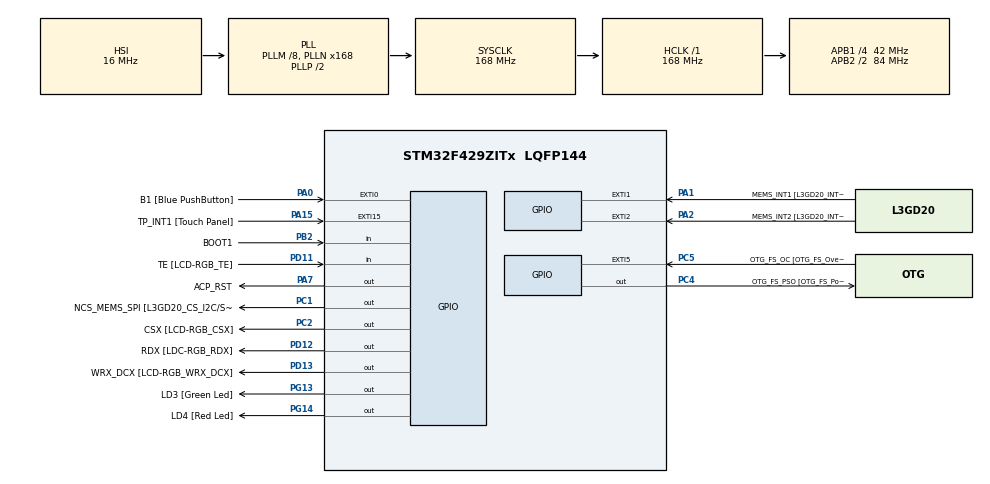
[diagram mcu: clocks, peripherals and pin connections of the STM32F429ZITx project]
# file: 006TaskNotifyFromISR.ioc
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Mcu.Family=STM32F4
Mcu.Name=STM32F429ZITx
Mcu.Package=LQFP144
NVIC.EXTI0_IRQn=true\:6\:0\:true\:false\:true\:true\:true\:true
NVIC.PriorityGroup=NVIC_PRIORITYGROUP_4
NVIC.TIM6_DAC_IRQn=true\:15\:0\:false\:false\:true\:false\:true\:true
NVIC.TimeBase=TIM6_DAC_IRQn
NVIC.TimeBaseIP=TIM6
PA0/WKUP.GPIO_Label=B1 [Blue PushButton]
PA0/WKUP.GPIO_ModeDefaultEXTI=GPIO_MODE_IT_RISING
PA0/WKUP.GPIO_PuPd=GPIO_NOPULL
PA0/WKUP.Signal=GPXTI0
PA1.GPIO_Label=MEMS_INT1 [L3GD20_INT1]
PA1.GPIO_ModeDefaultEXTI=GPIO_MODE_EVT_RISING
PA1.GPIO_PuPd=GPIO_NOPULL
PA1.Signal=GPXTI1
PA10.GPIO_Label=STLINK_TX [STM32F103CBT6_PA2]
PA10.Signal=USART1_RX
PA11.GPIO_Label=R4
PA11.GPIO_Mode=GPIO_MODE_AF_PP
PA11.GPIO_PuPd=GPIO_NOPULL
PA11.GPIO_Speed=GPIO_SPEED_FREQ_LOW
PA11.Signal=LTDC_R4
PA12.GPIO_Label=R5
PA12.GPIO_Mode=GPIO_MODE_AF_PP
PA12.GPIO_PuPd=GPIO_NOPULL
PA12.GPIO_Speed=GPIO_SPEED_FREQ_LOW
PA12.Signal=LTDC_R5
PA13.GPIO_Label=SWDIO
PA13.Signal=SYS_JTMS-SWDIO
PA14.GPIO_Label=SWCLK
PA14.Signal=SYS_JTCK-SWCLK
PA15.GPIO_Label=TP_INT1 [Touch Panel]
PA15.GPIO_ModeDefaultEXTI=GPIO_MODE_EVT_RISING
PA15.GPIO_PuPd=GPIO_NOPULL
PA15.Signal=GPXTI15
PA2.GPIO_Label=MEMS_INT2 [L3GD20_INT2]
PA2.GPIO_ModeDefaultEXTI=GPIO_MODE_EVT_RISING
PA2.GPIO_PuPd=GPIO_NOPULL
PA2.Signal=GPXTI2
PA3.GPIO_Label=B5
PA3.GPIO_Mode=GPIO_MODE_AF_PP
PA3.GPIO_PuPd=GPIO_NOPULL
PA3.GPIO_Speed=GPIO_SPEED_FREQ_LOW
PA3.Signal=LTDC_B5
PA4.GPIO_Label=VSYNC
PA4.GPIO_Mode=GPIO_MODE_AF_PP
PA4.GPIO_PuPd=GPIO_NOPULL
PA4.GPIO_Speed=GPIO_SPEED_FREQ_LOW
PA4.Signal=LTDC_VSYNC
PA6.GPIO_Label=G2
PA6.GPIO_Mode=GPIO_MODE_AF_PP
PA6.GPIO_PuPd=GPIO_NOPULL
PA6.GPIO_Speed=GPIO_SPEED_FREQ_LOW
PA6.Signal=LTDC_G2
PA7.GPIO_Label=ACP_RST
PA7.GPIO_Mode=GPIO_MODE_OUTPUT_PP
PA7.GPIO_PuPd=GPIO_NOPULL
PA7.GPIO_Speed=GPIO_SPEED_FREQ_LOW
PA7.Signal=GPIO_Output
PA8.GPIO_Label=I2C3_SCL [ACP/RF_SCL]
PA8.GPIO_Mode=GPIO_MODE_AF_OD
PA8.GPIO_PuPd=GPIO_NOPULL
PA8.GPIO_Speed=GPIO_SPEED_FREQ_LOW
PA8.Signal=I2C3_SCL
PA9.GPIO_Label=STLINK_RX [STM32F103CBT6_PA3]
PA9.Signal=USART1_TX
PB0.GPIO_Label=R3
PB0.GPIO_Mode=GPIO_MODE_AF_PP
PB0.GPIO_PuPd=GPIO_NOPULL
PB0.GPIO_Speed=GPIO_SPEED_FREQ_LOW
PB0.Signal=LTDC_R3
PB1.GPIO_Label=R6
PB1.GPIO_Mode=GPIO_MODE_AF_PP
PB1.GPIO_PuPd=GPIO_NOPULL
PB1.GPIO_Speed=GPIO_SPEED_FREQ_LOW
PB1.Signal=LTDC_R6
PB10.GPIO_Label=G4
PB10.GPIO_Mode=GPIO_MODE_AF_PP
PB10.GPIO_PuPd=GPIO_NOPULL
PB10.GPIO_Speed=GPIO_SPEED_FREQ_LOW
PB10.Signal=LTDC_G4
PB11.GPIO_Label=G5
PB11.GPIO_Mode=GPIO_MODE_AF_PP
PB11.GPIO_PuPd=GPIO_NOPULL
PB11.GPIO_Speed=GPIO_SPEED_FREQ_LOW
PB11.Signal=LTDC_G5
PB12.GPIO_Label=OTG_HS_ID
PB12.GPIO_Mode=GPIO_MODE_AF_PP
PB12.GPIO_PuPd=GPIO_NOPULL
PB12.GPIO_Speed=GPIO_SPEED_FREQ_LOW
PB12.Signal=USB_OTG_HS_ID
PB13.GPIO_Label=VBUS_HS
PB13.GPIO_Mode=GPIO_MODE_INPUT
PB13.GPIO_PuPd=GPIO_NOPULL
PB13.Signal=USB_OTG_HS_VBUS
PB14.GPIO_Label=OTG_HS_DM
PB14.GPIO_Mode=GPIO_MODE_AF_PP
PB14.GPIO_PuPd=GPIO_NOPULL
PB14.GPIO_Speed=GPIO_SPEED_FREQ_LOW
PB14.Signal=USB_OTG_HS_DM
PB15.GPIO_Label=OTG_HS_DP
PB15.GPIO_Mode=GPIO_MODE_AF_PP
PB15.GPIO_PuPd=GPIO_NOPULL
PB15.GPIO_Speed=GPIO_SPEED_FREQ_LOW
PB15.Signal=USB_OTG_HS_DP
PB2/BOOT1.GPIO_Label=BOOT1
PB2/BOOT1.GPIO_Mode=GPIO_MODE_INPUT
PB2/BOOT1.GPIO_PuPd=GPIO_NOPULL
PB2/BOOT1.Signal=GPIO_Input
PB5.GPIO_Label=SDCKE1
PB5.GPIO_Mode=GPIO_MODE_AF_PP
PB5.GPIO_PuPd=GPIO_NOPULL
PB5.GPIO_Speed=GPIO_SPEED_FREQ_VERY_HIGH
PB5.Signal=FMC_SDCKE1
PB6.GPIO_Label=SDNE1 [SDRAM_CS]
PB6.GPIO_Mode=GPIO_MODE_AF_PP
PB6.GPIO_PuPd=GPIO_NOPULL
PB6.GPIO_Speed=GPIO_SPEED_FREQ_VERY_HIGH
PB6.Signal=FMC_SDNE1
PB8.GPIO_Label=B6
PB8.GPIO_Mode=GPIO_MODE_AF_PP
PB8.GPIO_PuPd=GPIO_NOPULL
PB8.GPIO_Speed=GPIO_SPEED_FREQ_LOW
PB8.Signal=LTDC_B6
PB9.GPIO_Label=B7
PB9.GPIO_Mode=GPIO_MODE_AF_PP
PB9.GPIO_PuPd=GPIO_NOPULL
PB9.GPIO_Speed=GPIO_SPEED_FREQ_LOW
PB9.Signal=LTDC_B7
PC0.GPIO_Label=SDNWE
PC0.GPIO_Mode=GPIO_MODE_AF_PP
PC0.GPIO_PuPd=GPIO_NOPULL
PC0.GPIO_Speed=GPIO_SPEED_FREQ_VERY_HIGH
PC0.Signal=FMC_SDNWE
PC1.GPIO_Label=NCS_MEMS_SPI [L3GD20_CS_I2C/SPI]
PC1.GPIO_Mode=GPIO_MODE_OUTPUT_PP
PC1.GPIO_PuPd=GPIO_NOPULL
PC1.GPIO_Speed=GPIO_SPEED_FREQ_LOW
PC1.Signal=GPIO_Output
PC10.GPIO_Label=R2
PC10.GPIO_Mode=GPIO_MODE_AF_PP
PC10.GPIO_PuPd=GPIO_NOPULL
PC10.GPIO_Speed=GPIO_SPEED_FREQ_LOW
PC10.Signal=LTDC_R2
PC14/OSC32_IN.GPIO_Label=PC14-OSC32_IN
PC14/OSC32_IN.Signal=RCC_OSC32_IN
PC15/OSC32_OUT.GPIO_Label=PC15-OSC32_OUT
PC15/OSC32_OUT.Signal=RCC_OSC32_OUT
PC2.GPIO_Label=CSX [LCD-RGB_CSX]
PC2.GPIO_Mode=GPIO_MODE_OUTPUT_PP
PC2.GPIO_PuPd=GPIO_NOPULL
PC2.GPIO_Speed=GPIO_SPEED_FREQ_LOW
PC2.Signal=GPIO_Output
PC4.GPIO_Label=OTG_FS_PSO [OTG_FS_PowerSwitchOn]
PC4.GPIO_Mode=GPIO_MODE_OUTPUT_PP
PC4.GPIO_PuPd=GPIO_NOPULL
PC4.GPIO_Speed=GPIO_SPEED_FREQ_LOW
PC4.Signal=GPIO_Output
PC5.GPIO_Label=OTG_FS_OC [OTG_FS_OverCurrent]
PC5.GPIO_ModeDefaultEXTI=GPIO_MODE_EVT_RISING
PC5.Signal=GPXTI5
PC6.GPIO_Label=HSYNC
PC6.GPIO_Mode=GPIO_MODE_AF_PP
PC6.GPIO_PuPd=GPIO_NOPULL
PC6.GPIO_Speed=GPIO_SPEED_FREQ_LOW
PC6.Signal=LTDC_HSYNC
PC7.GPIO_Label=G6
PC7.GPIO_Mode=GPIO_MODE_AF_PP
PC7.GPIO_PuPd=GPIO_NOPULL
PC7.GPIO_Speed=GPIO_SPEED_FREQ_LOW
PC7.Signal=LTDC_G6
PC9.GPIO_Label=I2C3_SDA [ACP/RF_SDA]
PC9.GPIO_Mode=GPIO_MODE_AF_OD
PC9.GPIO_PuPd=GPIO_NOPULL
PC9.GPIO_Speed=GPIO_SPEED_FREQ_LOW
PC9.Signal=I2C3_SDA
PD0.GPIO_Label=D2
PD0.GPIO_Mode=GPIO_MODE_AF_PP
PD0.GPIO_PuPd=GPIO_NOPULL
PD0.GPIO_Speed=GPIO_SPEED_FREQ_VERY_HIGH
PD0.Signal=FMC_D2_DA2
PD1.GPIO_Label=D3
PD1.GPIO_Mode=GPIO_MODE_AF_PP
PD1.GPIO_PuPd=GPIO_NOPULL
PD1.GPIO_Speed=GPIO_SPEED_FREQ_VERY_HIGH
PD1.Signal=FMC_D3_DA3
PD10.GPIO_Label=D15
PD10.GPIO_Mode=GPIO_MODE_AF_PP
PD10.GPIO_PuPd=GPIO_NOPULL
PD10.GPIO_Speed=GPIO_SPEED_FREQ_VERY_HIGH
PD10.Signal=FMC_D15_DA15
PD11.GPIO_Label=TE [LCD-RGB_TE]
PD11.GPIO_Mode=GPIO_MODE_INPUT
PD11.GPIO_PuPd=GPIO_NOPULL
PD11.Signal=GPIO_Input
PD12.GPIO_Label=RDX [LDC-RGB_RDX]
PD12.GPIO_Mode=GPIO_MODE_OUTPUT_PP
PD12.GPIO_PuPd=GPIO_NOPULL
PD12.GPIO_Speed=GPIO_SPEED_FREQ_LOW
PD12.Signal=GPIO_Output
PD13.GPIO_Label=WRX_DCX [LCD-RGB_WRX_DCX]
PD13.GPIO_Mode=GPIO_MODE_OUTPUT_PP
PD13.GPIO_PuPd=GPIO_NOPULL
PD13.GPIO_Speed=GPIO_SPEED_FREQ_LOW
PD13.Signal=GPIO_Output
PD14.GPIO_Label=D0
PD14.GPIO_Mode=GPIO_MODE_AF_PP
PD14.GPIO_PuPd=GPIO_NOPULL
PD14.GPIO_Speed=GPIO_SPEED_FREQ_VERY_HIGH
PD14.Signal=FMC_D0_DA0
PD15.GPIO_Label=D1
PD15.GPIO_Mode=GPIO_MODE_AF_PP
PD15.GPIO_PuPd=GPIO_NOPULL
PD15.GPIO_Speed=GPIO_SPEED_FREQ_VERY_HIGH
PD15.Signal=FMC_D1_DA1
PD3.GPIO_Label=G7
PD3.GPIO_Mode=GPIO_MODE_AF_PP
PD3.GPIO_PuPd=GPIO_NOPULL
PD3.GPIO_Speed=GPIO_SPEED_FREQ_LOW
PD3.Signal=LTDC_G7
PD6.GPIO_Label=B2
PD6.GPIO_Mode=GPIO_MODE_AF_PP
PD6.GPIO_PuPd=GPIO_NOPULL
PD6.GPIO_Speed=GPIO_SPEED_FREQ_LOW
PD6.Signal=LTDC_B2
PD8.GPIO_Label=D13
PD8.GPIO_Mode=GPIO_MODE_AF_PP
PD8.GPIO_PuPd=GPIO_NOPULL
PD8.GPIO_Speed=GPIO_SPEED_FREQ_VERY_HIGH
PD8.Signal=FMC_D13_DA13
PD9.GPIO_Label=D14
PD9.GPIO_Mode=GPIO_MODE_AF_PP
PD9.GPIO_PuPd=GPIO_NOPULL
PD9.GPIO_Speed=GPIO_SPEED_FREQ_VERY_HIGH
PD9.Signal=FMC_D14_DA14
PE0.GPIO_Label=NBL0 [SDRAM_LDQM]
PE0.GPIO_Mode=GPIO_MODE_AF_PP
PE0.GPIO_PuPd=GPIO_NOPULL
PE0.GPIO_Speed=GPIO_SPEED_FREQ_VERY_HIGH
PE0.Signal=FMC_NBL0
PE1.GPIO_Label=NBL1 [SDRAM_UDQM]
PE1.GPIO_Mode=GPIO_MODE_AF_PP
PE1.GPIO_PuPd=GPIO_NOPULL
PE1.GPIO_Speed=GPIO_SPEED_FREQ_VERY_HIGH
PE1.Signal=FMC_NBL1
PE10.GPIO_Label=D7
PE10.GPIO_Mode=GPIO_MODE_AF_PP
PE10.GPIO_PuPd=GPIO_NOPULL
PE10.GPIO_Speed=GPIO_SPEED_FREQ_VERY_HIGH
PE10.Signal=FMC_D7_DA7
PE11.GPIO_Label=D8
PE11.GPIO_Mode=GPIO_MODE_AF_PP
PE11.GPIO_PuPd=GPIO_NOPULL
PE11.GPIO_Speed=GPIO_SPEED_FREQ_VERY_HIGH
PE11.Signal=FMC_D8_DA8
PE12.GPIO_Label=D9
PE12.GPIO_Mode=GPIO_MODE_AF_PP
PE12.GPIO_PuPd=GPIO_NOPULL
PE12.GPIO_Speed=GPIO_SPEED_FREQ_VERY_HIGH
PE12.Signal=FMC_D9_DA9
PE13.GPIO_Label=D10
PE13.GPIO_Mode=GPIO_MODE_AF_PP
PE13.GPIO_PuPd=GPIO_NOPULL
PE13.GPIO_Speed=GPIO_SPEED_FREQ_VERY_HIGH
PE13.Signal=FMC_D10_DA10
PE14.GPIO_Label=D11
PE14.GPIO_Mode=GPIO_MODE_AF_PP
PE14.GPIO_PuPd=GPIO_NOPULL
PE14.GPIO_Speed=GPIO_SPEED_FREQ_VERY_HIGH
PE14.Signal=FMC_D11_DA11
PE15.GPIO_Label=D12
PE15.GPIO_Mode=GPIO_MODE_AF_PP
PE15.GPIO_PuPd=GPIO_NOPULL
PE15.GPIO_Speed=GPIO_SPEED_FREQ_VERY_HIGH
PE15.Signal=FMC_D12_DA12
PE7.GPIO_Label=D4
PE7.GPIO_Mode=GPIO_MODE_AF_PP
PE7.GPIO_PuPd=GPIO_NOPULL
PE7.GPIO_Speed=GPIO_SPEED_FREQ_VERY_HIGH
PE7.Signal=FMC_D4_DA4
PE8.GPIO_Label=D5
PE8.GPIO_Mode=GPIO_MODE_AF_PP
PE8.GPIO_PuPd=GPIO_NOPULL
PE8.GPIO_Speed=GPIO_SPEED_FREQ_VERY_HIGH
PE8.Signal=FMC_D5_DA5
PE9.GPIO_Label=D6
PE9.GPIO_Mode=GPIO_MODE_AF_PP
PE9.GPIO_PuPd=GPIO_NOPULL
PE9.GPIO_Speed=GPIO_SPEED_FREQ_VERY_HIGH
PE9.Signal=FMC_D6_DA6
PF0.GPIO_Label=A0
PF0.GPIO_Mode=GPIO_MODE_AF_PP
PF0.GPIO_PuPd=GPIO_NOPULL
PF0.GPIO_Speed=GPIO_SPEED_FREQ_VERY_HIGH
PF0.Signal=FMC_A0
PF1.GPIO_Label=A1
PF1.GPIO_Mode=GPIO_MODE_AF_PP
PF1.GPIO_PuPd=GPIO_NOPULL
PF1.GPIO_Speed=GPIO_SPEED_FREQ_VERY_HIGH
PF1.Signal=FMC_A1
PF10.GPIO_Label=ENABLE [LCD-RGB_ENABLE]
PF10.GPIO_Mode=GPIO_MODE_AF_PP
PF10.GPIO_PuPd=GPIO_NOPULL
PF10.GPIO_Speed=GPIO_SPEED_FREQ_LOW
PF10.Signal=LTDC_DE
PF11.GPIO_Label=SDNRAS
PF11.GPIO_Mode=GPIO_MODE_AF_PP
PF11.GPIO_PuPd=GPIO_NOPULL
PF11.GPIO_Speed=GPIO_SPEED_FREQ_VERY_HIGH
PF11.Signal=FMC_SDNRAS
PF12.GPIO_Label=A6
PF12.GPIO_Mode=GPIO_MODE_AF_PP
PF12.GPIO_PuPd=GPIO_NOPULL
PF12.GPIO_Speed=GPIO_SPEED_FREQ_VERY_HIGH
PF12.Signal=FMC_A6
PF13.GPIO_Label=A7
PF13.GPIO_Mode=GPIO_MODE_AF_PP
PF13.GPIO_PuPd=GPIO_NOPULL
PF13.GPIO_Speed=GPIO_SPEED_FREQ_VERY_HIGH
PF13.Signal=FMC_A7
PF14.GPIO_Label=A8
PF14.GPIO_Mode=GPIO_MODE_AF_PP
PF14.GPIO_PuPd=GPIO_NOPULL
PF14.GPIO_Speed=GPIO_SPEED_FREQ_VERY_HIGH
PF14.Signal=FMC_A8
PF15.GPIO_Label=A9
PF15.GPIO_Mode=GPIO_MODE_AF_PP
PF15.GPIO_PuPd=GPIO_NOPULL
PF15.GPIO_Speed=GPIO_SPEED_FREQ_VERY_HIGH
PF15.Signal=FMC_A9
PF2.GPIO_Label=A2
PF2.GPIO_Mode=GPIO_MODE_AF_PP
PF2.GPIO_PuPd=GPIO_NOPULL
PF2.GPIO_Speed=GPIO_SPEED_FREQ_VERY_HIGH
PF2.Signal=FMC_A2
PF3.GPIO_Label=A3
PF3.GPIO_Mode=GPIO_MODE_AF_PP
PF3.GPIO_PuPd=GPIO_NOPULL
PF3.GPIO_Speed=GPIO_SPEED_FREQ_VERY_HIGH
PF3.Signal=FMC_A3
PF4.GPIO_Label=A4
PF4.GPIO_Mode=GPIO_MODE_AF_PP
PF4.GPIO_PuPd=GPIO_NOPULL
PF4.GPIO_Speed=GPIO_SPEED_FREQ_VERY_HIGH
PF4.Signal=FMC_A4
PF5.GPIO_Label=A5
PF5.GPIO_Mode=GPIO_MODE_AF_PP
PF5.GPIO_PuPd=GPIO_NOPULL
PF5.GPIO_Speed=GPIO_SPEED_FREQ_VERY_HIGH
PF5.Signal=FMC_A5
PF7.GPIO_Label=SPI5_SCK [L3GD20_SCL/SPC]
PF7.GPIO_Mode=GPIO_MODE_AF_PP
PF7.GPIO_PuPd=GPIO_NOPULL
PF7.GPIO_Speed=GPIO_SPEED_FREQ_LOW
PF7.Signal=SPI5_SCK
PF8.GPIO_Label=SPI5_MISO [L3GD20_SDO]
PF8.GPIO_Mode=GPIO_MODE_AF_PP
PF8.GPIO_PuPd=GPIO_NOPULL
PF8.GPIO_Speed=GPIO_SPEED_FREQ_LOW
PF8.Signal=SPI5_MISO
PF9.GPIO_Label=SPI5_MOSI [L3GD20_SDA/SDI/SDO]
PF9.GPIO_Mode=GPIO_MODE_AF_PP
PF9.GPIO_PuPd=GPIO_NOPULL
PF9.GPIO_Speed=GPIO_SPEED_FREQ_LOW
PF9.Signal=SPI5_MOSI
PG0.GPIO_Label=A10
PG0.GPIO_Mode=GPIO_MODE_AF_PP
PG0.GPIO_PuPd=GPIO_NOPULL
PG0.GPIO_Speed=GPIO_SPEED_FREQ_VERY_HIGH
PG0.Signal=FMC_A10
PG1.GPIO_Label=A11
PG1.GPIO_Mode=GPIO_MODE_AF_PP
PG1.GPIO_PuPd=GPIO_NOPULL
PG1.GPIO_Speed=GPIO_SPEED_FREQ_VERY_HIGH
PG1.Signal=FMC_A11
PG10.GPIO_Label=G3
PG10.GPIO_Mode=GPIO_MODE_AF_PP
PG10.GPIO_PuPd=GPIO_NOPULL
PG10.GPIO_Speed=GPIO_SPEED_FREQ_LOW
PG10.Signal=LTDC_G3
PG11.GPIO_Label=B3
PG11.GPIO_Mode=GPIO_MODE_AF_PP
PG11.GPIO_PuPd=GPIO_NOPULL
PG11.GPIO_Speed=GPIO_SPEED_FREQ_LOW
PG11.Signal=LTDC_B3
PG12.GPIO_Label=B4
PG12.GPIO_Mode=GPIO_MODE_AF_PP
PG12.GPIO_PuPd=GPIO_NOPULL
PG12.GPIO_Speed=GPIO_SPEED_FREQ_LOW
PG12.Signal=LTDC_B4
PG13.GPIO_Label=LD3 [Green Led]
PG13.GPIO_Mode=GPIO_MODE_OUTPUT_PP
PG13.GPIO_PuPd=GPIO_NOPULL
PG13.GPIO_Speed=GPIO_SPEED_FREQ_LOW
PG13.Signal=GPIO_Output
PG14.GPIO_Label=LD4 [Red Led]
PG14.GPIO_Mode=GPIO_MODE_OUTPUT_PP
PG14.GPIO_PuPd=GPIO_NOPULL
PG14.GPIO_Speed=GPIO_SPEED_FREQ_LOW
PG14.Signal=GPIO_Output
PG15.GPIO_Label=SDNCAS
PG15.GPIO_Mode=GPIO_MODE_AF_PP
PG15.GPIO_PuPd=GPIO_NOPULL
PG15.GPIO_Speed=GPIO_SPEED_FREQ_VERY_HIGH
PG15.Signal=FMC_SDNCAS
PG4.GPIO_Label=BA0
PG4.GPIO_Mode=GPIO_MODE_AF_PP
PG4.GPIO_PuPd=GPIO_NOPULL
PG4.GPIO_Speed=GPIO_SPEED_FREQ_VERY_HIGH
PG4.Signal=FMC_A14_BA0
PG5.GPIO_Label=BA1
PG5.GPIO_Mode=GPIO_MODE_AF_PP
PG5.GPIO_PuPd=GPIO_NOPULL
PG5.GPIO_Speed=GPIO_SPEED_FREQ_VERY_HIGH
PG5.Signal=FMC_A15_BA1
PG6.GPIO_Label=R7
PG6.GPIO_Mode=GPIO_MODE_AF_PP
PG6.GPIO_PuPd=GPIO_NOPULL
PG6.GPIO_Speed=GPIO_SPEED_FREQ_LOW
PG6.Signal=LTDC_R7
PG7.GPIO_Label=DOTCLK [LCT-RGB_DOTCLK]
PG7.GPIO_Mode=GPIO_MODE_AF_PP
PG7.GPIO_PuPd=GPIO_NOPULL
PG7.GPIO_Speed=GPIO_SPEED_FREQ_LOW
PG7.Signal=LTDC_CLK
PG8.GPIO_Label=SDCLK
PG8.GPIO_Mode=GPIO_MODE_AF_PP
PG8.GPIO_PuPd=GPIO_NOPULL
PG8.GPIO_Speed=GPIO_SPEED_FREQ_VERY_HIGH
PG8.Signal=FMC_SDCLK
PH0/OSC_IN.GPIO_Label=PH0-OSC_IN
PH0/OSC_IN.Signal=RCC_OSC_IN
PH1/OSC_OUT.GPIO_Label=PH1-OSC_OUT
PH1/OSC_OUT.Signal=RCC_OSC_OUT
ProjectManager.HeapSize=0x200
ProjectManager.StackSize=0x400
ProjectManager.TargetToolchain=STM32CubeIDE
RCC.48MHZClocksFreq_Value=48000000
RCC.AHBFreq_Value=168000000
RCC.APB1CLKDivider=RCC_HCLK_DIV4
RCC.APB1Freq_Value=42000000
RCC.APB1TimFreq_Value=84000000
RCC.APB2CLKDivider=RCC_HCLK_DIV2
RCC.APB2Freq_Value=84000000
RCC.APB2TimFreq_Value=168000000
RCC.CortexFreq_Value=168000000
RCC.HCLKFreq_Value=168000000
RCC.HSE_VALUE=8000000
RCC.HSI_VALUE=16000000
RCC.LSE_VALUE=32768
RCC.PLLM=8
RCC.PLLN=168
RCC.PLLQ=7
RCC.SYSCLKFreq_VALUE=168000000
RCC.SYSCLKSource=RCC_SYSCLKSOURCE_PLLCLK
RCC.VCOOutputFreq_Value=336000000
SH.FMC_A0.0=FMC_A0
SH.FMC_A1.0=FMC_A1
SH.FMC_A10.0=FMC_A10
SH.FMC_A11.0=FMC_A11
SH.FMC_A14_BA0.0=FMC_BA0
SH.FMC_A15_BA1.0=FMC_BA1
SH.FMC_A2.0=FMC_A2
SH.FMC_A3.0=FMC_A3
SH.FMC_A4.0=FMC_A4
SH.FMC_A5.0=FMC_A5
SH.FMC_A6.0=FMC_A6
SH.FMC_A7.0=FMC_A7
SH.FMC_A8.0=FMC_A8
SH.FMC_A9.0=FMC_A9
SH.FMC_D0_DA0.0=FMC_D0
SH.FMC_D10_DA10.0=FMC_D10
SH.FMC_D11_DA11.0=FMC_D11
SH.FMC_D12_DA12.0=FMC_D12
SH.FMC_D13_DA13.0=FMC_D13
SH.FMC_D14_DA14.0=FMC_D14
SH.FMC_D15_DA15.0=FMC_D15
SH.FMC_D1_DA1.0=FMC_D1
SH.FMC_D2_DA2.0=FMC_D2
SH.FMC_D3_DA3.0=FMC_D3
SH.FMC_D4_DA4.0=FMC_D4
SH.FMC_D5_DA5.0=FMC_D5
SH.FMC_D6_DA6.0=FMC_D6
SH.FMC_D7_DA7.0=FMC_D7
SH.FMC_D8_DA8.0=FMC_D8
SH.FMC_D9_DA9.0=FMC_D9
SH.FMC_NBL0.0=FMC_NBL0
SH.FMC_NBL1.0=FMC_NBL1
SH.FMC_SDCLK.0=FMC_SDCLK
SH.FMC_SDNCAS.0=FMC_SDNCAS
SH.FMC_SDNRAS.0=FMC_SDNRAS
SH.FMC_SDNWE.0=FMC_SDNWE
VP_SYS_VS_tim6.Mode=TIM6
board=STM32F429I-DISC1

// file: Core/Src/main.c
/* USER CODE BEGIN Header */
/**
  ******************************************************************************
  * @file           : main.c
  * @brief          : Main program body
  ******************************************************************************
  * @attention
  *
  * Copyright (c) 2024 STMicroelectronics.
  * All rights reserved.
  *
  * This software is licensed under terms that can be found in the LICENSE file
  * in the root directory of this software component.
  * If no LICENSE file comes with this software, it is provided AS-IS.
  *
  ******************************************************************************
  */
/* USER CODE END Header */
#include "main.h"

/* USER CODE BEGIN Includes */
#include <stdio.h>
#include "FreeRTOS.h"
#include "task.h"
#include "string.h"
#include "limits.h"
#include "SEGGER_SYSVIEW_FreeRTOS.h"

/* USER CODE END Includes */

/* USER CODE BEGIN PV */

#define DWT_CTRL (volatile uint32_t*)0xE0001000

/* USER CODE END PV */

void SystemClock_Config(void);
static void MX_GPIO_Init(void);
/* USER CODE BEGIN PFP */

static void red_led_handler(void *pvParam);
static void green_led_handler(void *pvParam);
void button_irq_handler(void);

extern void SEGGER_UART_init(U32 baud);

/* USER CODE END PFP */

/* USER CODE BEGIN 0 */
static TaskHandle_t xRedLedTaskHandle = NULL;
static TaskHandle_t xGreenLedTaskHandle = NULL;
static volatile TaskHandle_t xNextTaskHandle = NULL;
/* USER CODE END 0 */

int main(void)
{
  /* USER CODE BEGIN 1 */

	BaseType_t xReturned = 0;
//	TaskHandle_t xNotifyTaskHandle = NULL, xNotifyWaitTaskHandle = NULL;

  /* USER CODE END 1 */

  /* MCU Configuration--------------------------------------------------------*/

  /* Reset of all peripherals, Initializes the Flash interface and the Systick. */
  HAL_Init();

  /* Configure the system clock */
  SystemClock_Config();

  /* Initialize all configured peripherals */
  MX_GPIO_Init();
  /* USER CODE BEGIN 2 */

  // enable the CYCCNT counter
  *DWT_CTRL |= (1 << 0);

  // enable usart
  SEGGER_UART_init(500000);

  // start segger recording
  SEGGER_SYSVIEW_Conf();

  xReturned = xTaskCreate(red_led_handler, "red_led_handler", 200, NULL, 2, &xRedLedTaskHandle);
  configASSERT(pdPASS == xReturned);
  xNextTaskHandle = xRedLedTaskHandle;

  xReturned = xTaskCreate(green_led_handler, "green_led_handler", 200, NULL, 3, &xGreenLedTaskHandle);
  configASSERT(pdPASS == xReturned);

  // start the scheduler
  vTaskStartScheduler();

  /* USER CODE END 2 */

  /* Infinite loop */
  while (1)
  {

  }
}

void SystemClock_Config(void)
{
  RCC_OscInitTypeDef RCC_OscInitStruct = {0};
  RCC_ClkInitTypeDef RCC_ClkInitStruct = {0};

  /** Configure the main internal regulator output voltage
  */
  __HAL_RCC_PWR_CLK_ENABLE();
  __HAL_PWR_VOLTAGESCALING_CONFIG(PWR_REGULATOR_VOLTAGE_SCALE1);

  /** Initializes the RCC Oscillators according to the specified parameters
  * in the RCC_OscInitTypeDef structure.
  */
  RCC_OscInitStruct.OscillatorType = RCC_OSCILLATORTYPE_HSI;
  RCC_OscInitStruct.HSIState = RCC_HSI_ON;
  RCC_OscInitStruct.HSICalibrationValue = RCC_HSICALIBRATION_DEFAULT;
  RCC_OscInitStruct.PLL.PLLState = RCC_PLL_ON;
  RCC_OscInitStruct.PLL.PLLSource = RCC_PLLSOURCE_HSI;
  RCC_OscInitStruct.PLL.PLLM = 8;
  RCC_OscInitStruct.PLL.PLLN = 168;
  RCC_OscInitStruct.PLL.PLLP = RCC_PLLP_DIV2;
  RCC_OscInitStruct.PLL.PLLQ = 7;
  if (HAL_RCC_OscConfig(&RCC_OscInitStruct) != HAL_OK)
  {
    Error_Handler();
  }

  /** Initializes the CPU, AHB and APB buses clocks
  */
  RCC_ClkInitStruct.ClockType = RCC_CLOCKTYPE_HCLK|RCC_CLOCKTYPE_SYSCLK
                              |RCC_CLOCKTYPE_PCLK1|RCC_CLOCKTYPE_PCLK2;
  RCC_ClkInitStruct.SYSCLKSource = RCC_SYSCLKSOURCE_PLLCLK;
  RCC_ClkInitStruct.AHBCLKDivider = RCC_SYSCLK_DIV1;
  RCC_ClkInitStruct.APB1CLKDivider = RCC_HCLK_DIV4;
  RCC_ClkInitStruct.APB2CLKDivider = RCC_HCLK_DIV2;

  if (HAL_RCC_ClockConfig(&RCC_ClkInitStruct, FLASH_LATENCY_5) != HAL_OK)
  {
    Error_Handler();
  }
}

static void MX_GPIO_Init(void)
{
  GPIO_InitTypeDef GPIO_InitStruct = {0};

  /* GPIO Ports Clock Enable */
  __HAL_RCC_GPIOC_CLK_ENABLE();
  __HAL_RCC_GPIOF_CLK_ENABLE();
  __HAL_RCC_GPIOH_CLK_ENABLE();
  __HAL_RCC_GPIOA_CLK_ENABLE();
  __HAL_RCC_GPIOB_CLK_ENABLE();
  __HAL_RCC_GPIOG_CLK_ENABLE();
  __HAL_RCC_GPIOE_CLK_ENABLE();
  __HAL_RCC_GPIOD_CLK_ENABLE();

  /*Configure GPIO pin Output Level */
  HAL_GPIO_WritePin(GPIOC, NCS_MEMS_SPI_Pin|CSX_Pin|OTG_FS_PSO_Pin, GPIO_PIN_RESET);

  /*Configure GPIO pin Output Level */
  HAL_GPIO_WritePin(ACP_RST_GPIO_Port, ACP_RST_Pin, GPIO_PIN_RESET);

  /*Configure GPIO pin Output Level */
  HAL_GPIO_WritePin(GPIOD, RDX_Pin|WRX_DCX_Pin, GPIO_PIN_RESET);

  /*Configure GPIO pin Output Level */
  HAL_GPIO_WritePin(GPIOG, LD3_Pin|LD4_Pin, GPIO_PIN_RESET);

  /*Configure GPIO pins : A0_Pin A1_Pin A2_Pin A3_Pin
                           A4_Pin A5_Pin SDNRAS_Pin A6_Pin
                           A7_Pin A8_Pin A9_Pin */
  GPIO_InitStruct.Pin = A0_Pin|A1_Pin|A2_Pin|A3_Pin
                          |A4_Pin|A5_Pin|SDNRAS_Pin|A6_Pin
                          |A7_Pin|A8_Pin|A9_Pin;
  GPIO_InitStruct.Mode = GPIO_MODE_AF_PP;
  GPIO_InitStruct.Pull = GPIO_NOPULL;
  GPIO_InitStruct.Speed = GPIO_SPEED_FREQ_VERY_HIGH;
  GPIO_InitStruct.Alternate = GPIO_AF12_FMC;
  HAL_GPIO_Init(GPIOF, &GPIO_InitStruct);

  /*Configure GPIO pins : SPI5_SCK_Pin SPI5_MISO_Pin SPI5_MOSI_Pin */
  GPIO_InitStruct.Pin = SPI5_SCK_Pin|SPI5_MISO_Pin|SPI5_MOSI_Pin;
  GPIO_InitStruct.Mode = GPIO_MODE_AF_PP;
  GPIO_InitStruct.Pull = GPIO_NOPULL;
  GPIO_InitStruct.Speed = GPIO_SPEED_FREQ_LOW;
  GPIO_InitStruct.Alternate = GPIO_AF5_SPI5;
  HAL_GPIO_Init(GPIOF, &GPIO_InitStruct);

  /*Configure GPIO pin : ENABLE_Pin */
  GPIO_InitStruct.Pin = ENABLE_Pin;
  GPIO_InitStruct.Mode = GPIO_MODE_AF_PP;
  GPIO_InitStruct.Pull = GPIO_NOPULL;
  GPIO_InitStruct.Speed = GPIO_SPEED_FREQ_LOW;
  GPIO_InitStruct.Alternate = GPIO_AF14_LTDC;
  HAL_GPIO_Init(ENABLE_GPIO_Port, &GPIO_InitStruct);

  /*Configure GPIO pin : SDNWE_Pin */
  GPIO_InitStruct.Pin = SDNWE_Pin;
  GPIO_InitStruct.Mode = GPIO_MODE_AF_PP;
  GPIO_InitStruct.Pull = GPIO_NOPULL;
  GPIO_InitStruct.Speed = GPIO_SPEED_FREQ_VERY_HIGH;
  GPIO_InitStruct.Alternate = GPIO_AF12_FMC;
  HAL_GPIO_Init(SDNWE_GPIO_Port, &GPIO_InitStruct);

  /*Configure GPIO pins : NCS_MEMS_SPI_Pin CSX_Pin OTG_FS_PSO_Pin */
  GPIO_InitStruct.Pin = NCS_MEMS_SPI_Pin|CSX_Pin|OTG_FS_PSO_Pin;
  GPIO_InitStruct.Mode = GPIO_MODE_OUTPUT_PP;
  GPIO_InitStruct.Pull = GPIO_NOPULL;
  GPIO_InitStruct.Speed = GPIO_SPEED_FREQ_LOW;
  HAL_GPIO_Init(GPIOC, &GPIO_InitStruct);

  /*Configure GPIO pin : B1_Pin */
  GPIO_InitStruct.Pin = B1_Pin;
  GPIO_InitStruct.Mode = GPIO_MODE_IT_RISING;
  GPIO_InitStruct.Pull = GPIO_NOPULL;
  HAL_GPIO_Init(B1_GPIO_Port, &GPIO_InitStruct);

  /*Configure GPIO pins : MEMS_INT1_Pin MEMS_INT2_Pin TP_INT1_Pin */
  GPIO_InitStruct.Pin = MEMS_INT1_Pin|MEMS_INT2_Pin|TP_INT1_Pin;
  GPIO_InitStruct.Mode = GPIO_MODE_EVT_RISING;
  GPIO_InitStruct.Pull = GPIO_NOPULL;
  HAL_GPIO_Init(GPIOA, &GPIO_InitStruct);

  /*Configure GPIO pins : B5_Pin VSYNC_Pin G2_Pin R4_Pin
                           R5_Pin */
  GPIO_InitStruct.Pin = B5_Pin|VSYNC_Pin|G2_Pin|R4_Pin
                          |R5_Pin;
  GPIO_InitStruct.Mode = GPIO_MODE_AF_PP;
  GPIO_InitStruct.Pull = GPIO_NOPULL;
  GPIO_InitStruct.Speed = GPIO_SPEED_FREQ_LOW;
  GPIO_InitStruct.Alternate = GPIO_AF14_LTDC;
  HAL_GPIO_Init(GPIOA, &GPIO_InitStruct);

  /*Configure GPIO pin : ACP_RST_Pin */
  GPIO_InitStruct.Pin = ACP_RST_Pin;
  GPIO_InitStruct.Mode = GPIO_MODE_OUTPUT_PP;
  GPIO_InitStruct.Pull = GPIO_NOPULL;
  GPIO_InitStruct.Speed = GPIO_SPEED_FREQ_LOW;
  HAL_GPIO_Init(ACP_RST_GPIO_Port, &GPIO_InitStruct);

  /*Configure GPIO pin : OTG_FS_OC_Pin */
  GPIO_InitStruct.Pin = OTG_FS_OC_Pin;
  GPIO_InitStruct.Mode = GPIO_MODE_EVT_RISING;
  GPIO_InitStruct.Pull = GPIO_NOPULL;
  HAL_GPIO_Init(OTG_FS_OC_GPIO_Port, &GPIO_InitStruct);

  /*Configure GPIO pins : R3_Pin R6_Pin */
  GPIO_InitStruct.Pin = R3_Pin|R6_Pin;
  GPIO_InitStruct.Mode = GPIO_MODE_AF_PP;
  GPIO_InitStruct.Pull = GPIO_NOPULL;
  GPIO_InitStruct.Speed = GPIO_SPEED_FREQ_LOW;
  GPIO_InitStruct.Alternate = GPIO_AF9_LTDC;
  HAL_GPIO_Init(GPIOB, &GPIO_InitStruct);

  /*Configure GPIO pin : BOOT1_Pin */
  GPIO_InitStruct.Pin = BOOT1_Pin;
  GPIO_InitStruct.Mode = GPIO_MODE_INPUT;
  GPIO_InitStruct.Pull = GPIO_NOPULL;
  HAL_GPIO_Init(BOOT1_GPIO_Port, &GPIO_InitStruct);

  /*Configure GPIO pins : A10_Pin A11_Pin BA0_Pin BA1_Pin
                           SDCLK_Pin SDNCAS_Pin */
  GPIO_InitStruct.Pin = A10_Pin|A11_Pin|BA0_Pin|BA1_Pin
                          |SDCLK_Pin|SDNCAS_Pin;
  GPIO_InitStruct.Mode = GPIO_MODE_AF_PP;
  GPIO_InitStruct.Pull = GPIO_NOPULL;
  GPIO_InitStruct.Speed = GPIO_SPEED_FREQ_VERY_HIGH;
  GPIO_InitStruct.Alternate = GPIO_AF12_FMC;
  HAL_GPIO_Init(GPIOG, &GPIO_InitStruct);

  /*Configure GPIO pins : D4_Pin D5_Pin D6_Pin D7_Pin
                           D8_Pin D9_Pin D10_Pin D11_Pin
                           D12_Pin NBL0_Pin NBL1_Pin */
  GPIO_InitStruct.Pin = D4_Pin|D5_Pin|D6_Pin|D7_Pin
                          |D8_Pin|D9_Pin|D10_Pin|D11_Pin
                          |D12_Pin|NBL0_Pin|NBL1_Pin;
  GPIO_InitStruct.Mode = GPIO_MODE_AF_PP;
  GPIO_InitStruct.Pull = GPIO_NOPULL;
  GPIO_InitStruct.Speed = GPIO_SPEED_FREQ_VERY_HIGH;
  GPIO_InitStruct.Alternate = GPIO_AF12_FMC;
  HAL_GPIO_Init(GPIOE, &GPIO_InitStruct);

  /*Configure GPIO pins : G4_Pin G5_Pin B6_Pin B7_Pin */
  GPIO_InitStruct.Pin = G4_Pin|G5_Pin|B6_Pin|B7_Pin;
  GPIO_InitStruct.Mode = GPIO_MODE_AF_PP;
  GPIO_InitStruct.Pull = GPIO_NOPULL;
  GPIO_InitStruct.Speed = GPIO_SPEED_FREQ_LOW;
  GPIO_InitStruct.Alternate = GPIO_AF14_LTDC;
  HAL_GPIO_Init(GPIOB, &GPIO_InitStruct);

  /*Configure GPIO pins : OTG_HS_ID_Pin OTG_HS_DM_Pin OTG_HS_DP_Pin */
  GPIO_InitStruct.Pin = OTG_HS_ID_Pin|OTG_HS_DM_Pin|OTG_HS_DP_Pin;
  GPIO_InitStruct.Mode = GPIO_MODE_AF_PP;
  GPIO_InitStruct.Pull = GPIO_NOPULL;
  GPIO_InitStruct.Speed = GPIO_SPEED_FREQ_LOW;
  GPIO_InitStruct.Alternate = GPIO_AF12_OTG_HS_FS;
  HAL_GPIO_Init(GPIOB, &GPIO_InitStruct);

  /*Configure GPIO pin : VBUS_HS_Pin */
  GPIO_InitStruct.Pin = VBUS_HS_Pin;
  GPIO_InitStruct.Mode = GPIO_MODE_INPUT;
  GPIO_InitStruct.Pull = GPIO_NOPULL;
  HAL_GPIO_Init(VBUS_HS_GPIO_Port, &GPIO_InitStruct);

  /*Configure GPIO pins : D13_Pin D14_Pin D15_Pin D0_Pin
                           D1_Pin D2_Pin D3_Pin */
  GPIO_InitStruct.Pin = D13_Pin|D14_Pin|D15_Pin|D0_Pin
                          |D1_Pin|D2_Pin|D3_Pin;
  GPIO_InitStruct.Mode = GPIO_MODE_AF_PP;
  GPIO_InitStruct.Pull = GPIO_NOPULL;
  GPIO_InitStruct.Speed = GPIO_SPEED_FREQ_VERY_HIGH;
  GPIO_InitStruct.Alternate = GPIO_AF12_FMC;
  HAL_GPIO_Init(GPIOD, &GPIO_InitStruct);

  /*Configure GPIO pin : TE_Pin */
  GPIO_InitStruct.Pin = TE_Pin;
  GPIO_InitStruct.Mode = GPIO_MODE_INPUT;
  GPIO_InitStruct.Pull = GPIO_NOPULL;
  HAL_GPIO_Init(TE_GPIO_Port, &GPIO_InitStruct);

  /*Configure GPIO pins : RDX_Pin WRX_DCX_Pin */
  GPIO_InitStruct.Pin = RDX_Pin|WRX_DCX_Pin;
  GPIO_InitStruct.Mode = GPIO_MODE_OUTPUT_PP;
  GPIO_InitStruct.Pull = GPIO_NOPULL;
  GPIO_InitStruct.Speed = GPIO_SPEED_FREQ_LOW;
  HAL_GPIO_Init(GPIOD, &GPIO_InitStruct);

  /*Configure GPIO pins : R7_Pin DOTCLK_Pin B3_Pin */
  GPIO_InitStruct.Pin = R7_Pin|DOTCLK_Pin|B3_Pin;
  GPIO_InitStruct.Mode = GPIO_MODE_AF_PP;
  GPIO_InitStruct.Pull = GPIO_NOPULL;
  GPIO_InitStruct.Speed = GPIO_SPEED_FREQ_LOW;
  GPIO_InitStruct.Alternate = GPIO_AF14_LTDC;
  HAL_GPIO_Init(GPIOG, &GPIO_InitStruct);

  /*Configure GPIO pins : HSYNC_Pin G6_Pin R2_Pin */
  GPIO_InitStruct.Pin = HSYNC_Pin|G6_Pin|R2_Pin;
  GPIO_InitStruct.Mode = GPIO_MODE_AF_PP;
  GPIO_InitStruct.Pull = GPIO_NOPULL;
  GPIO_InitStruct.Speed = GPIO_SPEED_FREQ_LOW;
  GPIO_InitStruct.Alternate = GPIO_AF14_LTDC;
  HAL_GPIO_Init(GPIOC, &GPIO_InitStruct);

  /*Configure GPIO pin : I2C3_SDA_Pin */
  GPIO_InitStruct.Pin = I2C3_SDA_Pin;
  GPIO_InitStruct.Mode = GPIO_MODE_AF_OD;
  GPIO_InitStruct.Pull = GPIO_NOPULL;
  GPIO_InitStruct.Speed = GPIO_SPEED_FREQ_LOW;
  GPIO_InitStruct.Alternate = GPIO_AF4_I2C3;
  HAL_GPIO_Init(I2C3_SDA_GPIO_Port, &GPIO_InitStruct);

  /*Configure GPIO pin : I2C3_SCL_Pin */
  GPIO_InitStruct.Pin = I2C3_SCL_Pin;
  GPIO_InitStruct.Mode = GPIO_MODE_AF_OD;
  GPIO_InitStruct.Pull = GPIO_NOPULL;
  GPIO_InitStruct.Speed = GPIO_SPEED_FREQ_LOW;
  GPIO_InitStruct.Alternate = GPIO_AF4_I2C3;
  HAL_GPIO_Init(I2C3_SCL_GPIO_Port, &GPIO_InitStruct);

  /*Configure GPIO pins : STLINK_RX_Pin STLINK_TX_Pin */
  GPIO_InitStruct.Pin = STLINK_RX_Pin|STLINK_TX_Pin;
  GPIO_InitStruct.Mode = GPIO_MODE_AF_PP;
  GPIO_InitStruct.Pull = GPIO_NOPULL;
  GPIO_InitStruct.Speed = GPIO_SPEED_FREQ_VERY_HIGH;
  GPIO_InitStruct.Alternate = GPIO_AF7_USART1;
  HAL_GPIO_Init(GPIOA, &GPIO_InitStruct);

  /*Configure GPIO pins : G7_Pin B2_Pin */
  GPIO_InitStruct.Pin = G7_Pin|B2_Pin;
  GPIO_InitStruct.Mode = GPIO_MODE_AF_PP;
  GPIO_InitStruct.Pull = GPIO_NOPULL;
  GPIO_InitStruct.Speed = GPIO_SPEED_FREQ_LOW;
  GPIO_InitStruct.Alternate = GPIO_AF14_LTDC;
  HAL_GPIO_Init(GPIOD, &GPIO_InitStruct);

  /*Configure GPIO pins : G3_Pin B4_Pin */
  GPIO_InitStruct.Pin = G3_Pin|B4_Pin;
  GPIO_InitStruct.Mode = GPIO_MODE_AF_PP;
  GPIO_InitStruct.Pull = GPIO_NOPULL;
  GPIO_InitStruct.Speed = GPIO_SPEED_FREQ_LOW;
  GPIO_InitStruct.Alternate = GPIO_AF9_LTDC;
  HAL_GPIO_Init(GPIOG, &GPIO_InitStruct);

  /*Configure GPIO pins : LD3_Pin LD4_Pin */
  GPIO_InitStruct.Pin = LD3_Pin|LD4_Pin;
  GPIO_InitStruct.Mode = GPIO_MODE_OUTPUT_PP;
  GPIO_InitStruct.Pull = GPIO_NOPULL;
  GPIO_InitStruct.Speed = GPIO_SPEED_FREQ_LOW;
  HAL_GPIO_Init(GPIOG, &GPIO_InitStruct);

  /*Configure GPIO pins : SDCKE1_Pin SDNE1_Pin */
  GPIO_InitStruct.Pin = SDCKE1_Pin|SDNE1_Pin;
  GPIO_InitStruct.Mode = GPIO_MODE_AF_PP;
  GPIO_InitStruct.Pull = GPIO_NOPULL;
  GPIO_InitStruct.Speed = GPIO_SPEED_FREQ_VERY_HIGH;
  GPIO_InitStruct.Alternate = GPIO_AF12_FMC;
  HAL_GPIO_Init(GPIOB, &GPIO_InitStruct);

  /* EXTI interrupt init*/
  HAL_NVIC_SetPriority(EXTI0_IRQn, 6, 0);
  HAL_NVIC_EnableIRQ(EXTI0_IRQn);

}

/* USER CODE BEGIN 4 */

static void red_led_handler(void *pvParam)
{
	BaseType_t xReturn = pdFALSE;
	char segger_buf[100];

	while(1)
	{
		// wait on wait event 0, Dont clear bits on entry/exit, only wait on event value not required
		xReturn = xTaskNotifyWait( 0x00, 0x00, NULL, pdMS_TO_TICKS(250));
		if (pdTRUE == xReturn) {

				memset(segger_buf, 0, sizeof(segger_buf));
				snprintf(segger_buf, sizeof(segger_buf), "red_led_handler: notification received");
				SEGGER_SYSVIEW_PrintfTarget(segger_buf);

				// keep red led set
				HAL_GPIO_WritePin(GPIOG, LD4_Pin, GPIO_PIN_SET);

				portENTER_CRITICAL();	// enter critical section - disable interrupts to access shared resource
					xNextTaskHandle = xGreenLedTaskHandle;
				portEXIT_CRITICAL();
				vTaskDelete(NULL);
		} else {
			memset(segger_buf, 0, sizeof(segger_buf));
			snprintf(segger_buf, sizeof(segger_buf), "red_led_handler: Timeout");
			SEGGER_SYSVIEW_PrintfTarget(segger_buf);

			// toggle red led
			HAL_GPIO_TogglePin(GPIOG, LD4_Pin);
		}
	}
}

static void green_led_handler(void *pvParam)
{
	BaseType_t xReturn = pdFALSE;
	char segger_buf[100];

	while(1)
	{
		// wait on wait event 0, Dont clear bits on entry/exit, only wait on event value not required
		xReturn = xTaskNotifyWait(0x00, 0x00, NULL, pdMS_TO_TICKS(750));
		if (pdTRUE == xReturn) {

				memset(segger_buf, 0, sizeof(segger_buf));
				snprintf(segger_buf, sizeof(segger_buf), "green_led_handler: notification received");
				SEGGER_SYSVIEW_PrintfTarget(segger_buf);

				// keep green led set
				HAL_GPIO_WritePin(GPIOG, LD3_Pin, GPIO_PIN_SET);

				portENTER_CRITICAL();	// enter critical section - disable interrupts to access shared resource
					xNextTaskHandle = NULL;
				portEXIT_CRITICAL();
				vTaskDelete(NULL);
		} else {
			memset(segger_buf, 0, sizeof(segger_buf));
			snprintf(segger_buf, sizeof(segger_buf), "green_led_handler: Timeout");
			SEGGER_SYSVIEW_PrintfTarget(segger_buf);

			// toggle green led
			HAL_GPIO_TogglePin(GPIOG, LD3_Pin);
		}
	}
}

void button_irq_handler()
{
	BaseType_t xHigherPriorityTaskWoken;

	traceISR_ENTER();	// instruct segger systemview to capture isr

	/* xHigherPriorityTaskWoken must be initialised to pdFALSE.  If calling
	    xTaskNotifyFromISR() unblocks the handling task, and the priority of
	    the handling task is higher than the priority of the currently running task,
	    then xHigherPriorityTaskWoken will automatically get set to pdTRUE. */
	xHigherPriorityTaskWoken = pdFALSE;

	/* Unblock the handling task so the task can perform any processing necessitated
	    by the interrupt */
	xTaskNotifyFromISR(xNextTaskHandle, 0, eNoAction, &xHigherPriorityTaskWoken);

	/* Force a context switch if xHigherPriorityTaskWoken is now set to pdTRUE. */
	portYIELD_FROM_ISR( xHigherPriorityTaskWoken );

	traceISR_ENTER();	// instruct segger systemview to capture isr

}

/* USER CODE END 4 */

void HAL_TIM_PeriodElapsedCallback(TIM_HandleTypeDef *htim)
{
  if (htim->Instance == TIM6) {
    HAL_IncTick();
  }
}

void Error_Handler(void)
{
  __disable_irq();
  while (1)
  {
  }
}
